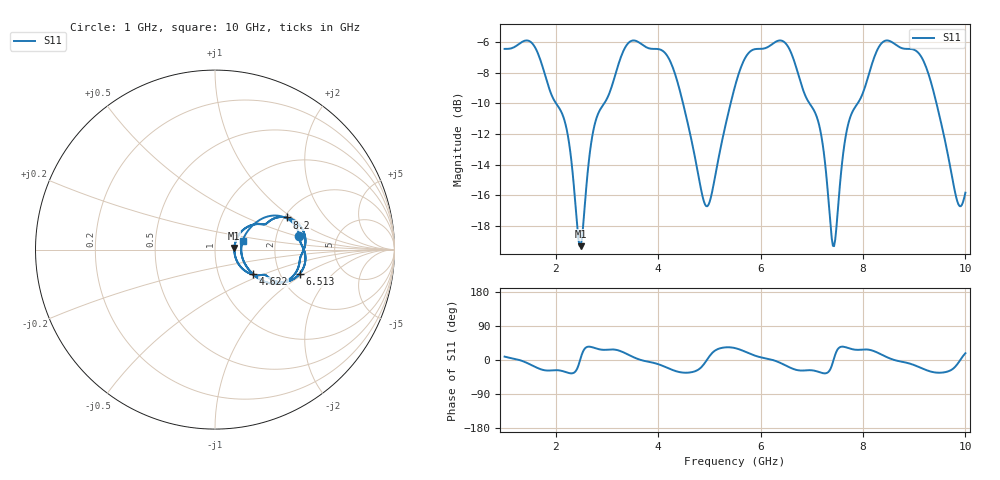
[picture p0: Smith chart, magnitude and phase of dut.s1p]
!Created with skrf (http://scikit-rf.org).
# GHz S RI R 50.0
!freq ReS11 ImS11
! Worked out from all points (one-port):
!   401 points, 1 GHz to 10 GHz, reference 50 ohm
!   lowest |S11| = -19.3 dB at 2.485 GHz (marker M1), VSWR 1.24, Z = 62.1 + j1.09 ohm
!   |S11| at or under -10 dB: 2.005 GHz to 2.945 GHz (940.2 MHz wide, 38 % of centre); 4.486 GHz to 5.414 GHz (928.7 MHz wide, 18.8 % of centre); 6.955 GHz to 7.895 GHz (940.2 MHz wide, 12.7 % of centre)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
!   S11 on the Smith chart (normalised r, x): 1 GHz: 2.70, +0.52; 4.622 GHz: 1.46, -0.43; 6.513 GHz: 2.56, -0.91; 8.2 GHz: 2.06, +0.91; 10 GHz: 1.36, +0.14
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1  0.4703 0.0741
1.54  0.4804 -0.1237
1.7425  0.3739 -0.1819
2.125  0.2556 -0.1417
2.26  0.1931 -0.1327
2.485  0.1079 0.00864
2.755  0.2276 0.1416
3.25  0.3992 0.179
3.5875  0.5029 0.0304
4.0825  0.4534 -0.1229
4.375  0.3204 -0.1893
4.6225  0.2118 -0.1366
4.96  0.146 0.00511
5.5  0.3068 0.1875
5.86  0.4616 0.1061
6.5125  0.472 -0.1348
6.625  0.4141 -0.1747
7.1425  0.2288 -0.1417
7.4125  0.1081 -0.0108
7.48  0.1151 0.0464
7.5925  0.1658 0.1172
7.75  0.2468 0.1423
8.2  0.3992 0.179
8.4475  0.501 0.0766
8.875  0.4714 -0.0666
9.3475  0.3082 -0.1878
9.8425  0.1487 -0.0291
10  0.154 0.0497
